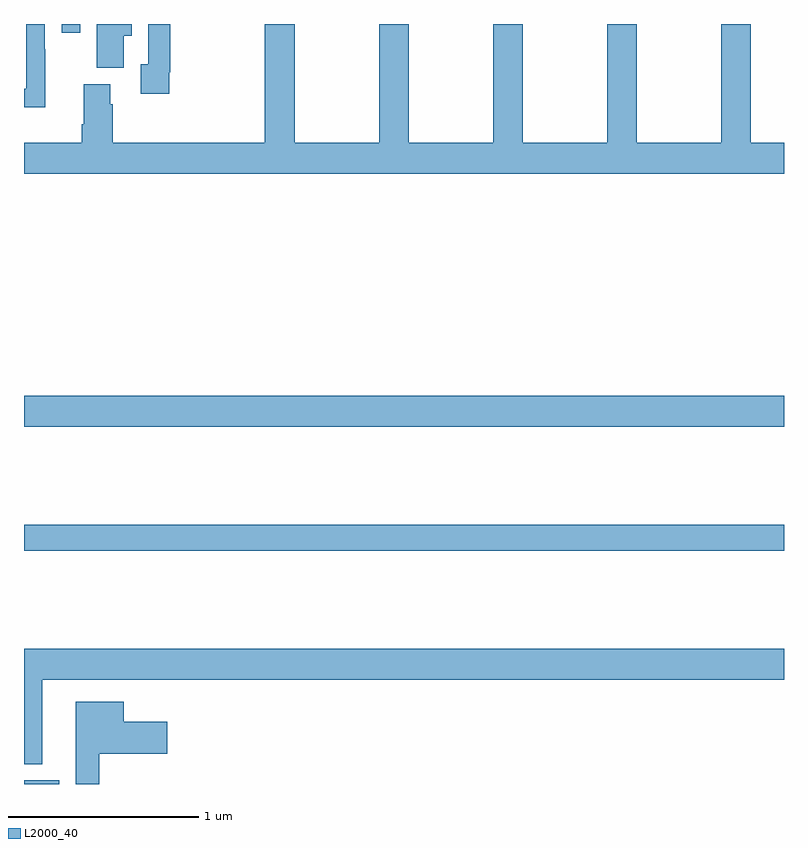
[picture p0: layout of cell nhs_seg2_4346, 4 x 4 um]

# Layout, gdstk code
import gdstk
lib = gdstk.Library(unit=1e-6, precision=1e-09)
def R(c, l, rs):  # rectangles x0, y0, x1, y1
    for r in rs: c.add(gdstk.rectangle(r[:2], r[2:], *l))
def P(c, l, *ps):  # polygons
    for p in ps: c.add(gdstk.Polygon(p, *l))
L2000_40 = (2000, 40)

nhs_seg2_4346 = lib.new_cell('nhs_seg2_4346')
R(nhs_seg2_4346, L2000_40, [(347,601.8,347.185,601.819), (347,603.028,351,603.164), (347,603.68,351,603.844), (347.199,605.754,347.295,605.8)])
P(nhs_seg2_4346, L2000_40, [(347.764,605.545),(347.771,605.545),(347.771,605.8),(347.655,605.8),(347.655,605.589),(347.615,605.589),(347.615,605.433),(347.764,605.433)],
  [(347.524,605.738),(347.566,605.738),(347.566,605.8),(347.384,605.8),(347.384,605.569),(347.524,605.569)],
  [(347.111,605.666),(347.109,605.666),(347.109,605.8),(347.013,605.8),(347.013,605.46),(347,605.46),(347,605.363),(347.111,605.363)],
  [(350.671,605.8),(350.671,605.176),(350.226,605.176),(350.226,605.8),(350.071,605.8),(350.071,605.176),(349.626,605.176),(349.626,605.8),(349.471,605.8),(349.471,605.176),(349.026,605.176),(349.026,605.8),(348.871,605.8),(348.871,605.176),(348.426,605.176),(348.426,605.8),(348.266,605.8),(348.266,605.176),(347.468,605.176),(347.468,605.378),(347.455,605.378),(347.455,605.484),(347.315,605.484),(347.315,605.272),(347.303,605.272),(347.303,605.176),(347,605.176),(347,605.012),(351,605.012),(351,605.176),(350.826,605.176),(350.826,605.8)],
  [(347.095,602.348),(351,602.348),(351,602.512),(347,602.512),(347,601.904),(347.095,601.904)],
  [(347.395,601.958),(347.755,601.958),(347.755,602.128),(347.524,602.128),(347.524,602.233),(347.273,602.233),(347.273,601.8),(347.395,601.8)])

lib.write_gds('nhs_seg2_4346.gds')
